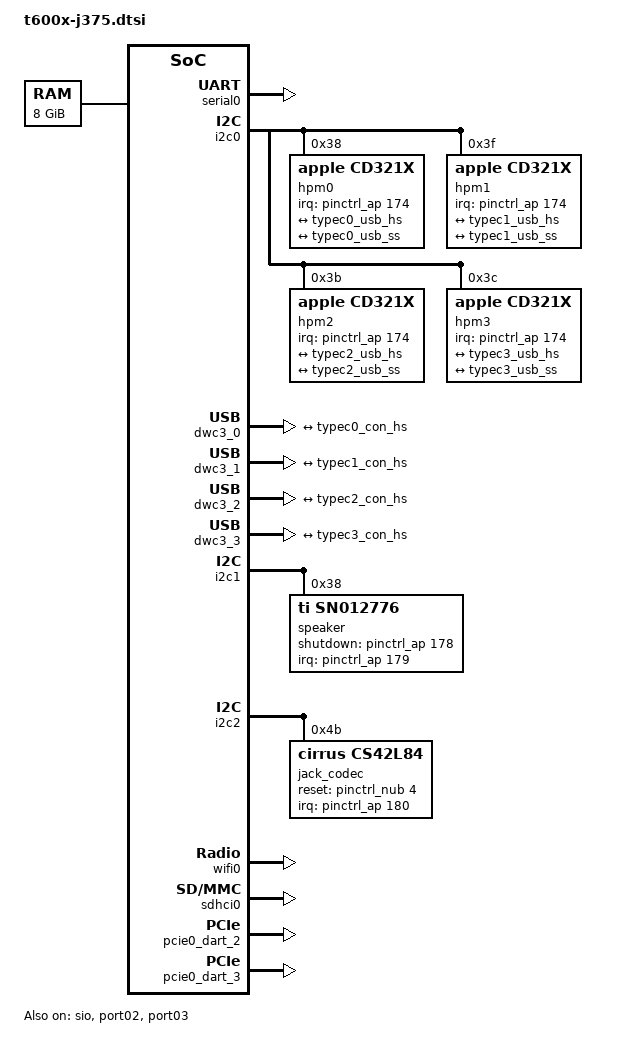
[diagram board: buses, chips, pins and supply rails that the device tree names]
// SPDX-License-Identifier: GPL-2.0+ OR MIT
/*
 * Mac Studio (2022)
 *
 * This file contains the parts common to J375 devices with both t6001 and t6002.
 *
 * target-type: J375c / J375d
 *
 * Copyright The Asahi Linux Contributors
 */

/ {
	aliases {
		atcphy0 = &atcphy0;
		atcphy1 = &atcphy1;
		atcphy2 = &atcphy2;
		atcphy3 = &atcphy3;
		bluetooth0 = &bluetooth0;
		#ifndef NO_DCP
		dcp = &dcp;
		disp0 = &display;
		disp0_piodma = &disp0_piodma;
		#endif
		ethernet0 = &ethernet0;
		nvram = &nvram;
		serial0 = &serial0;
		sio = &sio;
		wifi0 = &wifi0;
	};

	chosen {
		#address-cells = <2>;
		#size-cells = <2>;
		ranges;

		stdout-path = "serial0";

		framebuffer0: framebuffer@0 {
			compatible = "apple,simple-framebuffer", "simple-framebuffer";
			reg = <0 0 0 0>; /* To be filled by loader */
			/* Format properties will be added by loader */
			status = "disabled";
			power-domains = <&ps_disp0_cpu0>;
		};
	};

	reserved-memory {
		#address-cells = <2>;
		#size-cells = <2>;
		ranges;
		/* To be filled by loader */
	};

	memory@10000000000 {
		device_type = "memory";
		reg = <0x100 0 0x2 0>; /* To be filled by loader */
	};
};

&serial0 {
	status = "okay";
};

&dcp {
	apple,connector-type = "HDMI-A";
};

/* remove once m1n1 enables sio nodes after setup */
&sio {
        status = "okay";
};

/* USB Type C */
&i2c0 {
	hpm0: usb-pd@38 {
		compatible = "apple,cd321x";
		reg = <0x38>;
		interrupt-parent = <&pinctrl_ap>;
		interrupts = <174 IRQ_TYPE_LEVEL_LOW>;
		interrupt-names = "irq";

		typec0: connector {
			compatible = "usb-c-connector";
			label = "USB-C Back Left";
			power-role = "dual";
			data-role = "dual";

			ports {
				#address-cells = <1>;
				#size-cells = <0>;
				port@0 {
					reg = <0>;
					typec0_con_hs: endpoint {
						remote-endpoint = <&typec0_usb_hs>;
					};
				};
				port@1 {
					reg = <1>;
					typec0_con_ss: endpoint {
						remote-endpoint = <&typec0_usb_ss>;
					};
				};
			};
		};
	};

	hpm1: usb-pd@3f {
		compatible = "apple,cd321x";
		reg = <0x3f>;
		interrupt-parent = <&pinctrl_ap>;
		interrupts = <174 IRQ_TYPE_LEVEL_LOW>;
		interrupt-names = "irq";

		typec1: connector {
			compatible = "usb-c-connector";
			label = "USB-C Back Left Middle";
			power-role = "dual";
			data-role = "dual";

			ports {
				#address-cells = <1>;
				#size-cells = <0>;
				port@0 {
					reg = <0>;
					typec1_con_hs: endpoint {
						remote-endpoint = <&typec1_usb_hs>;
					};
				};
				port@1 {
					reg = <1>;
					typec1_con_ss: endpoint {
						remote-endpoint = <&typec1_usb_ss>;
					};
				};
			};
		};
	};

	hpm2: usb-pd@3b {
		compatible = "apple,cd321x";
		reg = <0x3b>;
		interrupt-parent = <&pinctrl_ap>;
		interrupts = <174 IRQ_TYPE_LEVEL_LOW>;
		interrupt-names = "irq";

		typec2: connector {
			compatible = "usb-c-connector";
			label = "USB-C Back Right Middle";
			power-role = "dual";
			data-role = "dual";

			ports {
				#address-cells = <1>;
				#size-cells = <0>;
				port@0 {
					reg = <0>;
					typec2_con_hs: endpoint {
						remote-endpoint = <&typec2_usb_hs>;
					};
				};
				port@1 {
					reg = <1>;
					typec2_con_ss: endpoint {
						remote-endpoint = <&typec2_usb_ss>;
					};
				};
			};
		};
	};

	hpm3: usb-pd@3c {
		compatible = "apple,cd321x";
		reg = <0x3c>;
		interrupt-parent = <&pinctrl_ap>;
		interrupts = <174 IRQ_TYPE_LEVEL_LOW>;
		interrupt-names = "irq";

		typec3: connector {
			compatible = "usb-c-connector";
			label = "USB-C Back Right";
			power-role = "dual";
			data-role = "dual";

			ports {
				#address-cells = <1>;
				#size-cells = <0>;
				port@0 {
					reg = <0>;
					typec3_con_hs: endpoint {
						remote-endpoint = <&typec3_usb_hs>;
					};
				};
				port@1 {
					reg = <1>;
					typec3_con_ss: endpoint {
						remote-endpoint = <&typec3_usb_ss>;
					};
				};
			};
		};
	};
};

/* USB controllers */
&dwc3_0 {
	port {
		typec0_usb_hs: endpoint {
			remote-endpoint = <&typec0_con_hs>;
		};
	};
};

&dwc3_1 {
	port {
		typec1_usb_hs: endpoint {
			remote-endpoint = <&typec1_con_hs>;
		};
	};
};

&dwc3_2 {
	port {
		typec2_usb_hs: endpoint {
			remote-endpoint = <&typec2_con_hs>;
		};
	};
};

&dwc3_3 {
	port {
		typec3_usb_hs: endpoint {
			remote-endpoint = <&typec3_con_hs>;
		};
	};
};

/* Type-C PHYs */
&atcphy0 {
	port {
		typec0_usb_ss: endpoint {
			remote-endpoint = <&typec0_con_ss>;
		};
	};
};

&atcphy1 {
	port {
		typec1_usb_ss: endpoint {
			remote-endpoint = <&typec1_con_ss>;
		};
	};
};

&atcphy2 {
	port {
		typec2_usb_ss: endpoint {
			remote-endpoint = <&typec2_con_ss>;
		};
	};
};

&atcphy3 {
	port {
		typec3_usb_ss: endpoint {
			remote-endpoint = <&typec3_con_ss>;
		};
	};
};

/* Audio */
&i2c1 {
	status = "okay";

	speaker: codec@38 {
		compatible = "ti,sn012776", "ti,tas2764";
		reg = <0x38>;
		shutdown-gpios = <&pinctrl_ap 178 GPIO_ACTIVE_HIGH>;
		#sound-dai-cells = <0>;
		interrupts-extended = <&pinctrl_ap 179 IRQ_TYPE_LEVEL_LOW>;
		ti,imon-slot-no = <0>;
		ti,vmon-slot-no = <2>;
	};
};

&i2c2 {
	status = "okay";

	jack_codec: codec@4b {
		compatible = "cirrus,cs42l84";
		reg = <0x4b>;
		reset-gpios = <&pinctrl_nub 4 GPIO_ACTIVE_HIGH>;
		#sound-dai-cells = <0>;
		interrupts-extended = <&pinctrl_ap 180 IRQ_TYPE_LEVEL_LOW>;
		sound-name-prefix = "Jack";
	};
};

&nco_clkref {
	clock-frequency = <1068000000>;
};

/ {
	sound: sound {
		/* compatible is set per machine */

		dai-link@0 {
			link-name = "Speaker";

			cpu {
				sound-dai = <&mca 0>;
			};
			codec {
				sound-dai = <&speaker>;
			};
		};

		dai-link@1 {
			link-name = "Headphone Jack";

			cpu {
				sound-dai = <&mca 2>;
			};
			codec {
				sound-dai = <&jack_codec>;
			};
		};
	};
};

/* PCIe devices */
&port00 {
	/* WLAN */
	bus-range = <1 1>;
	pwren-gpios = <&smc_gpio 13 GPIO_ACTIVE_HIGH>;
	wifi0: wifi@0,0 {
		reg = <0x10000 0x0 0x0 0x0 0x0>;
		compatible = "pci14e4,4433";
		brcm,board-type = "apple,okinawa";
		apple,antenna-sku = "XX";
		/* To be filled by the loader */
		local-mac-address = [00 10 18 00 00 10];
	};

	bluetooth0: network@0,1 {
		compatible = "pci14e4,5f71";
		brcm,board-type = "apple,okinawa";
		reg = <0x10100 0x0 0x0 0x0 0x0>;
		/* To be filled by the loader */
		local-bd-address = [00 00 00 00 00 00];
	};
};

#ifndef NO_PCIE_SDHC
&port01 {
	/* SD card reader */
	bus-range = <2 2>;
	pwren-gpios = <&smc_gpio 26 GPIO_ACTIVE_HIGH>;
	sdhci0: mmc@0,0 {
		compatible = "pci17a0,9755";
		reg = <0x20000 0x0 0x0 0x0 0x0>;
		cd-inverted;
		wp-inverted;
	};
};
#endif

&port02 {
	/* 10 Gbit Ethernet */
	bus-range = <3 3>;
	status = "okay";
	ethernet0: ethernet@0,0 {
		reg = <0x30000 0x0 0x0 0x0 0x0>;
		/* To be filled by the loader */
		local-mac-address = [00 10 18 00 00 00];
	};
};

&port03 {
	/* USB xHCI */
	bus-range = <4 4>;
	pwren-gpios = <&smc_gpio 20 GPIO_ACTIVE_HIGH>;
	status = "okay";
};


&pcie0_dart_2 {
	status = "okay";
};

&pcie0_dart_3 {
	status = "okay";
};

#ifndef NO_GPU
&gpu {
	apple,avg-power-ki-only = <0.6375>;
	apple,avg-power-kp = <0.58>;
	apple,avg-power-target-filter-tc = <1>;
	apple,perf-base-pstate = <3>;
	apple,ppm-ki = <5.8>;
	apple,ppm-kp = <0.355>;
};
#endif

#include "spi1-nvram.dtsi"

#include "hwmon-common.dtsi"
